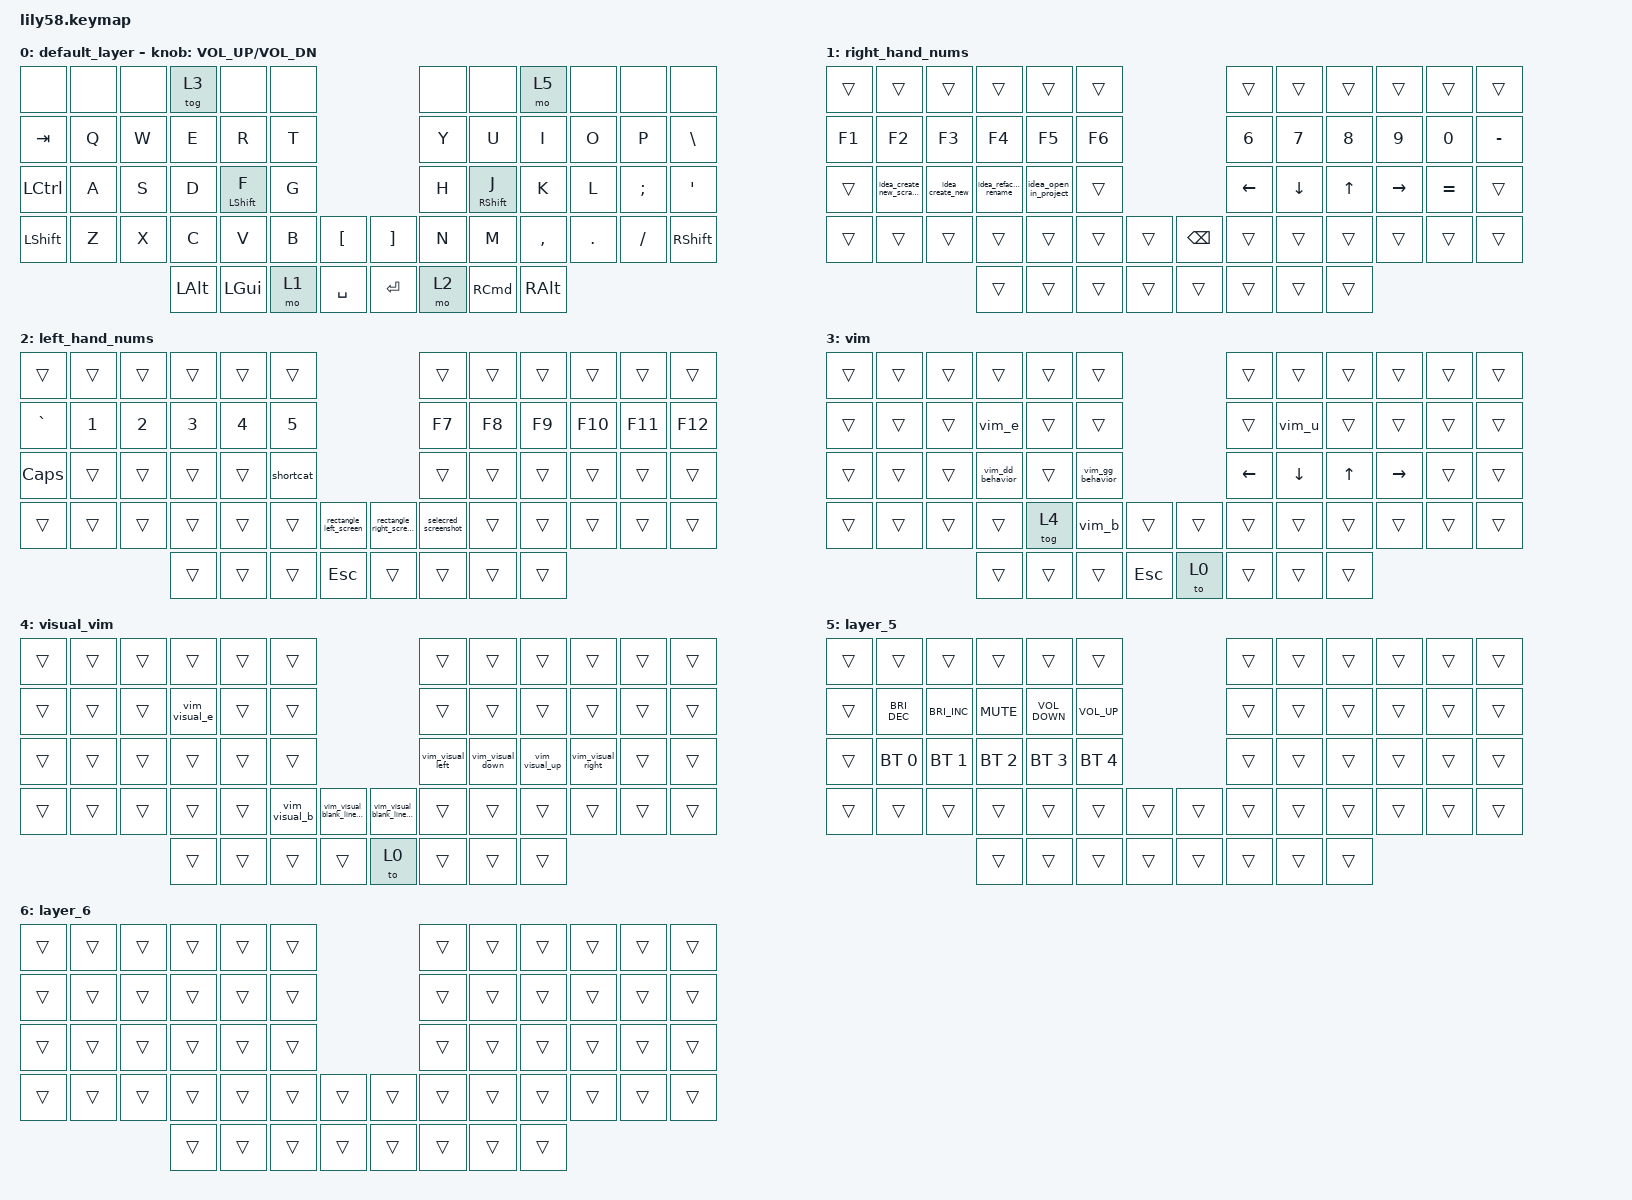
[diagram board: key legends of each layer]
/*
 * Copyright (c) 2020 The ZMK Contributors
 *
 * SPDX-License-Identifier: MIT
 */

#include <behaviors.dtsi>
#include <dt-bindings/zmk/bt.h>
#include <dt-bindings/zmk/keys.h>

/ {
    macros {
        shortcat: shortcat {
            compatible = "zmk,behavior-macro";
            #binding-cells = <0>;
            bindings =
                <&macro_press>,
                <&kp LEFT_SHIFT &kp LEFT_COMMAND>,
                <&macro_tap>,
                <&kp SPACE>,
                <&macro_release>,
                <&kp LEFT_SHIFT &kp LEFT_COMMAND>;

            label = "SHORTCAT";
        };

        selecred_screenshot: selecred_screenshot {
            compatible = "zmk,behavior-macro";
            #binding-cells = <0>;
            bindings =
                <&macro_press>,
                <&kp LCTRL &kp LEFT_SHIFT &kp LGUI &kp NUMBER_4>,
                <&macro_release>,
                <&kp LCTRL &kp LSHFT &kp LGUI &kp NUMBER_4>;

            label = "SELECRED_SCREENSHOT";
        };

        rectangle_left_screen: rectangle_lert_scrin {
            compatible = "zmk,behavior-macro";
            #binding-cells = <0>;
            bindings =
                <&macro_press>,
                <&kp LEFT_CONTROL &kp LALT &kp LEFT_ARROW &kp LEFT_GUI>,
                <&macro_release>,
                <&kp LEFT_CONTROL &kp LEFT_ALT &kp LEFT_ARROW &kp LEFT_GUI>;

            label = "RECTANGLE_LERT_SCRIN";
        };

        rectangle_right_screen: rectangle_right_screen {
            compatible = "zmk,behavior-macro";
            #binding-cells = <0>;
            bindings =
                <&macro_press>,
                <&kp LEFT_CONTROL &kp LEFT_GUI &kp LEFT_ALT &kp RIGHT_ARROW>,
                <&macro_release>,
                <&kp LEFT_CONTROL &kp LEFT_GUI &kp LEFT_ALT &kp RIGHT_ARROW>;

            label = "RECTANGLE_RIGHT_SCREEN";
        };

        idea_open_in_project: idea_open_in_project {
            compatible = "zmk,behavior-macro";
            #binding-cells = <0>;
            bindings =
                <&macro_press>,
                <&kp LEFT_ALT>,
                <&macro_tap>,
                <&kp F1>,
                <&macro_release>,
                <&kp LEFT_ALT>;

            label = "IDEA_OPEN_IN_PROJECT";
        };

        idea_ubuntu_create_new: idea_ubuntu_create_new {
            compatible = "zmk,behavior-macro";
            #binding-cells = <0>;
            bindings =
                <&macro_press>,
                <&kp LEFT_ALT>,
                <&macro_tap>,
                <&kp INSERT>,
                <&macro_release>,
                <&kp LEFT_ALT>;

            label = "IDEA_UBUNTU_CREATE_NEW";
        };

        lang_toggle: lang_toggle {
            compatible = "zmk,behavior-macro";
            #binding-cells = <0>;
            bindings =
                <&macro_press>,
                <&kp LEFT_CONTROL>,
                <&macro_tap>,
                <&kp SPACE>,
                <&macro_release>,
                <&kp LEFT_CONTROL>;

            label = "LANG_TOGGLE";
        };

        vim_dd: vim_dd {
            compatible = "zmk,behavior-macro";
            #binding-cells = <0>;
            bindings =
                <&macro_press>,
                <&kp LEFT_COMMAND>,
                <&macro_tap>,
                <&kp BACKSPACE>,
                <&macro_release>,
                <&kp LEFT_COMMAND>;

            label = "VIM_DD";
        };

        vim_G: vim_G {
            compatible = "zmk,behavior-macro";
            #binding-cells = <0>;
            bindings =
                <&macro_press>,
                <&kp LEFT_COMMAND>,
                <&macro_tap>,
                <&kp DOWN_ARROW>,
                <&macro_release>,
                <&kp LEFT_COMMAND>;

            label = "VIM_G";
        };

        vim_gg: vim_gg {
            compatible = "zmk,behavior-macro";
            #binding-cells = <0>;
            bindings =
                <&macro_press>,
                <&kp LEFT_COMMAND>,
                <&macro_tap>,
                <&kp DOWN_ARROW>,
                <&macro_release>,
                <&kp LEFT_COMMAND>;

            label = "VIM_GG";
        };

        vim_e: vim_w {
            compatible = "zmk,behavior-macro";
            #binding-cells = <0>;
            bindings =
                <&macro_press>,
                <&kp LEFT_ALT>,
                <&macro_tap>,
                <&kp RIGHT_ARROW>,
                <&macro_release>,
                <&kp LEFT_ALT>;

            label = "VIM_W";
        };

        vim_b: vim_b {
            compatible = "zmk,behavior-macro";
            #binding-cells = <0>;
            bindings =
                <&macro_press>,
                <&kp LEFT_ALT>,
                <&macro_tap>,
                <&kp LEFT_ARROW>,
                <&macro_release>,
                <&kp LEFT_ALT>;

            label = "VIM_B";
        };

        vim_u: vim_u {
            compatible = "zmk,behavior-macro";
            #binding-cells = <0>;
            bindings =
                <&macro_press>,
                <&kp LEFT_COMMAND>,
                <&macro_tap>,
                <&kp Z>,
                <&macro_release>,
                <&kp LEFT_COMMAND>;

            label = "VIM_U";
        };

        vim_visual_left: vim_visual_left {
            compatible = "zmk,behavior-macro";
            #binding-cells = <0>;
            bindings =
                <&macro_press>,
                <&kp LEFT_SHIFT>,
                <&macro_tap>,
                <&kp LEFT_ARROW>,
                <&macro_release>,
                <&kp LEFT_SHIFT>;

            label = "VIM_VISUAL_LEFT";
        };

        vim_visual_down: vim_visual_down {
            compatible = "zmk,behavior-macro";
            #binding-cells = <0>;
            bindings =
                <&macro_press>,
                <&kp LEFT_SHIFT>,
                <&macro_tap>,
                <&kp DOWN_ARROW>,
                <&macro_release>,
                <&kp LEFT_SHIFT>;

            label = "VIM_VISUAL_DOWN";
        };

        vim_visual_up: vim_visual_up {
            compatible = "zmk,behavior-macro";
            #binding-cells = <0>;
            bindings =
                <&macro_press>,
                <&kp LEFT_SHIFT>,
                <&macro_tap>,
                <&kp UP_ARROW>,
                <&macro_release>,
                <&kp LEFT_SHIFT>;

            label = "VIM_VISUAL_UP";
        };

        vim_visual_right: vim_visual_right {
            compatible = "zmk,behavior-macro";
            #binding-cells = <0>;
            bindings =
                <&macro_press>,
                <&kp LEFT_SHIFT>,
                <&macro_tap>,
                <&kp RIGHT_ARROW>,
                <&macro_release>,
                <&kp LEFT_SHIFT>;

            label = "VIM_VISUAL_RIGHT";
        };

        vim_visual_e: vim_visual_e {
            compatible = "zmk,behavior-macro";
            #binding-cells = <0>;
            bindings =
                <&macro_press>,
                <&kp LEFT_SHIFT &kp LEFT_ALT>,
                <&macro_tap>,
                <&kp RIGHT_ARROW>,
                <&macro_release>,
                <&kp LEFT_SHIFT &kp LEFT_ALT>;

            label = "VIM_VISUAL_E";
        };

        vim_visual_b: vim_visual_b {
            compatible = "zmk,behavior-macro";
            #binding-cells = <0>;
            bindings =
                <&macro_press>,
                <&kp LEFT_SHIFT &kp LEFT_ALT>,
                <&macro_tap>,
                <&kp LEFT_ARROW>,
                <&macro_release>,
                <&kp LEFT_SHIFT &kp LEFT_ALT>;

            label = "VIM_VISUAL_B";
        };

        vim_visual_blank_line_up: vim_visual_blank_line {
            compatible = "zmk,behavior-macro";
            #binding-cells = <0>;
            bindings =
                <&macro_press>,
                <&kp LEFT_SHIFT &kp LEFT_ALT>,
                <&macro_tap>,
                <&kp UP_ARROW>,
                <&macro_release>,
                <&kp LEFT_SHIFT &kp LEFT_ALT>;

            label = "VIM_VISUAL_BLANK_LINE";
        };

        vim_visual_blank_line_down: vim_visual_blank_line_dow {
            compatible = "zmk,behavior-macro";
            #binding-cells = <0>;
            bindings =
                <&macro_press>,
                <&kp LEFT_SHIFT &kp LEFT_ALT>,
                <&macro_tap>,
                <&kp DOWN_ARROW>,
                <&macro_release>,
                <&kp LEFT_SHIFT &kp LEFT_ALT>;

            label = "VIM_VISUAL_BLANK_LINE_DOW";
        };

        idea_refactor_rename: idea_refactor_rename {
            compatible = "zmk,behavior-macro";
            #binding-cells = <0>;
            bindings =
                <&macro_press>,
                <&kp LEFT_SHIFT>,
                <&macro_tap>,
                <&kp F6>,
                <&macro_release>,
                <&kp LEFT_SHIFT>;

            label = "IDEA_REFACTOR_RENAME";
        };

        idea_create_new: idea_new {
            compatible = "zmk,behavior-macro";
            #binding-cells = <0>;
            bindings =
                <&macro_press>,
                <&kp LEFT_COMMAND>,
                <&macro_tap>,
                <&kp N>,
                <&macro_release>,
                <&kp LEFT_COMMAND>;

            label = "IDEA_NEW";
        };

        idea_create_new_scratch: idea_new_scratch {
            compatible = "zmk,behavior-macro";
            #binding-cells = <0>;
            bindings =
                <&macro_press>,
                <&kp LEFT_COMMAND &kp LEFT_SHIFT>,
                <&macro_tap>,
                <&kp N>,
                <&macro_release>,
                <&kp LEFT_COMMAND &kp LEFT_SHIFT>;

            label = "IDEA_NEW_SCRATCH";
        };
    };

    behaviors {
        vim_dd_behavior: vim_dd_behavior {
            compatible = "zmk,behavior-tap-dance";
            label = "VIM_DD_BEHAVIOR";
            #binding-cells = <0>;
            bindings = <&kp D>, <&vim_dd>;
        };

        vim_gg_behavior: vim_gg_behavior {
            compatible = "zmk,behavior-tap-dance";
            label = "VIM_GG_BEHAVIOR";
            #binding-cells = <0>;
            bindings = <&vim_G>, <&vim_gg>;
        };

        homerow_j_right_shift: homerow_j_right_shift {
            compatible = "zmk,behavior-hold-tap";
            label = "HOMEROW_J_RIGHT_SHIFT";
            bindings = <&kp>, <&kp>;

            #binding-cells = <2>;
            tapping-term-ms = <200>;
            require-prior-idle-ms = <125>;
            flavor = "tap-preferred";
        };

        homerow_f_left_shift: homerow_f_left_shift {
            compatible = "zmk,behavior-hold-tap";
            label = "HOMEROW_F_LEFT_SHIFT";
            bindings = <&kp>, <&kp>;

            #binding-cells = <2>;
            tapping-term-ms = <200>;
            require-prior-idle-ms = <125>;
            flavor = "tap-preferred";
        };
    };

    keymap {
        compatible = "zmk,keymap";

        default_layer {
            // ------------------------------------------------------------------------------------------------------------
            // |  ESC  |  1  |  2  |  3   |  4   |  5   |                   |  6   |  7    |  8    |  9   |   0   |   `   |
            // |  TAB  |  Q  |  W  |  E   |  R   |  T   |                   |  Y   |  U    |  I    |  O   |   P   |   -   |
            // |  CTRL |  A  |  S  |  D   |  F   |  G   |                   |  H   |  J    |  K    |  L   |   ;   |   '   |
            // | SHIFT |  Z  |  X  |  C   |  V   |  B   |   "["  |  |  "]"  |  N   |  M    |  ,    |  .   |   /   | SHIFT |
            //                     | ALT  | GUI  | LOWER|  SPACE |  | ENTER | RAISE| BSPC  | GUI   |

            bindings = <
&none             &none  &none  &tog 3    &none                               &none                         &none  &none                                 &mo 5          &none    &none     &none
&kp TAB           &kp Q  &kp W  &kp E     &kp R                               &kp T                         &kp Y  &kp U                                 &kp I          &kp O    &kp P     &kp BACKSLASH
&kp LEFT_CONTROL  &kp A  &kp S  &kp D     &homerow_f_left_shift LEFT_SHIFT F  &kp G                         &kp H  &homerow_j_right_shift RIGHT_SHIFT J  &kp K          &kp L    &kp SEMI  &kp SQT
&kp LEFT_SHIFT    &kp Z  &kp X  &kp C     &kp V                               &kp B  &kp LBKT     &kp RBKT  &kp N  &kp M                                 &kp COMMA      &kp DOT  &kp FSLH  &kp RIGHT_SHIFT
                                &kp LALT  &kp LGUI                            &mo 1  &kp SPACE    &kp RET   &mo 2  &kp RIGHT_COMMAND                     &kp RIGHT_ALT
            >;

            sensor-bindings = <&inc_dec_kp C_VOL_UP C_VOL_DN>;
        };

        right_hand_nums {
            bindings = <
&trans  &trans                    &trans            &trans                 &trans                 &trans                           &trans          &trans          &trans        &trans           &trans        &trans
&kp F1  &kp F2                    &kp F3            &kp F4                 &kp F5                 &kp F6                           &kp NUMBER_6    &kp NUMBER_7    &kp NUMBER_8  &kp NUMBER_9     &kp NUMBER_0  &kp MINUS
&trans  &idea_create_new_scratch  &idea_create_new  &idea_refactor_rename  &idea_open_in_project  &trans                           &kp LEFT_ARROW  &kp DOWN_ARROW  &kp UP_ARROW  &kp RIGHT_ARROW  &kp EQUAL     &trans
&trans  &trans                    &trans            &trans                 &trans                 &trans  &trans    &kp BACKSPACE  &trans          &trans          &trans        &trans           &trans        &trans
                                                    &trans                 &trans                 &trans  &trans    &trans         &trans          &trans          &trans
            >;
        };

        left_hand_nums {
            bindings = <
&trans        &trans        &trans        &trans        &trans        &trans                                                           &trans                &trans  &trans  &trans   &trans   &trans
&kp GRAVE     &kp NUMBER_1  &kp NUMBER_2  &kp NUMBER_3  &kp NUMBER_4  &kp NUMBER_5                                                     &kp F7                &kp F8  &kp F9  &kp F10  &kp F11  &kp F12
&kp CAPSLOCK  &trans        &trans        &trans        &trans        &shortcat                                                        &trans                &trans  &trans  &trans   &trans   &trans
&trans        &trans        &trans        &trans        &trans        &trans        &rectangle_left_screen    &rectangle_right_screen  &selecred_screenshot  &trans  &trans  &trans   &trans   &trans
                                          &trans        &trans        &trans        &kp ESCAPE                &trans                   &trans                &trans  &trans
            >;
        };

        vim {
            bindings = <
&trans  &trans  &trans  &trans            &trans  &trans                                  &trans          &trans          &trans        &trans           &trans  &trans
&trans  &trans  &trans  &vim_e            &trans  &trans                                  &trans          &vim_u          &trans        &trans           &trans  &trans
&trans  &trans  &trans  &vim_dd_behavior  &trans  &vim_gg_behavior                        &kp LEFT_ARROW  &kp DOWN_ARROW  &kp UP_ARROW  &kp RIGHT_ARROW  &trans  &trans
&trans  &trans  &trans  &trans            &tog 4  &vim_b            &trans        &trans  &trans          &trans          &trans        &trans           &trans  &trans
                        &trans            &trans  &trans            &kp ESCAPE    &to 0   &trans          &trans          &trans
            >;
        };

        visual_vim {
            bindings = <
&trans  &trans  &trans  &trans         &trans  &trans                                                                   &trans            &trans            &trans          &trans             &trans  &trans
&trans  &trans  &trans  &vim_visual_e  &trans  &trans                                                                   &trans            &trans            &trans          &trans             &trans  &trans
&trans  &trans  &trans  &trans         &trans  &trans                                                                   &vim_visual_left  &vim_visual_down  &vim_visual_up  &vim_visual_right  &trans  &trans
&trans  &trans  &trans  &trans         &trans  &vim_visual_b  &vim_visual_blank_line_up    &vim_visual_blank_line_down  &trans            &trans            &trans          &trans             &trans  &trans
                        &trans         &trans  &trans         &trans                       &to 0                        &trans            &trans            &trans
            >;
        };

        layer_5 {
            bindings = <
&trans  &trans                &trans                &trans        &trans             &trans                             &trans  &trans  &trans  &trans  &trans  &trans
&trans  &kp C_BRIGHTNESS_DEC  &kp C_BRIGHTNESS_INC  &kp K_MUTE    &kp C_VOLUME_DOWN  &kp C_VOLUME_UP                    &trans  &trans  &trans  &trans  &trans  &trans
&trans  &bt BT_SEL 0          &bt BT_SEL 1          &bt BT_SEL 2  &bt BT_SEL 3       &bt BT_SEL 4                       &trans  &trans  &trans  &trans  &trans  &trans
&trans  &trans                &trans                &trans        &trans             &trans           &trans    &trans  &trans  &trans  &trans  &trans  &trans  &trans
                                                    &trans        &trans             &trans           &trans    &trans  &trans  &trans  &trans
            >;
        };

        layer_6 {
            bindings = <
&trans  &trans  &trans  &trans  &trans  &trans                    &trans  &trans  &trans  &trans  &trans  &trans
&trans  &trans  &trans  &trans  &trans  &trans                    &trans  &trans  &trans  &trans  &trans  &trans
&trans  &trans  &trans  &trans  &trans  &trans                    &trans  &trans  &trans  &trans  &trans  &trans
&trans  &trans  &trans  &trans  &trans  &trans  &trans    &trans  &trans  &trans  &trans  &trans  &trans  &trans
                        &trans  &trans  &trans  &trans    &trans  &trans  &trans  &trans
            >;
        };
    };

    conditional_layers {
        compatible = "zmk,conditional-layers";

        layer_3_condition {
            if-layers = <1 3>;
            then-layer = <3>;
        };
    };
};
